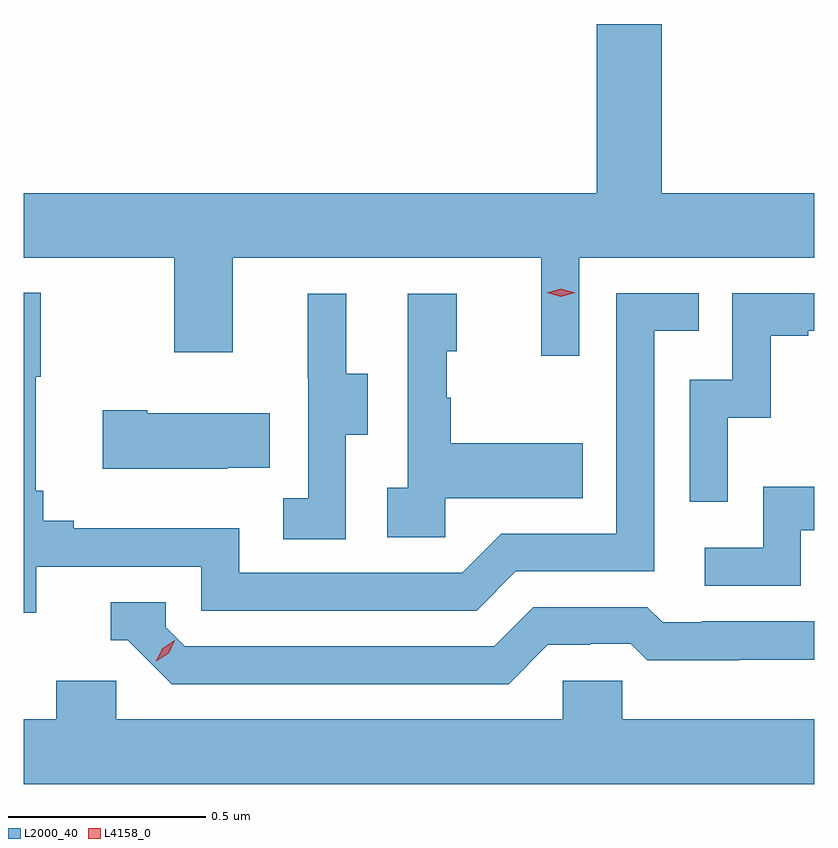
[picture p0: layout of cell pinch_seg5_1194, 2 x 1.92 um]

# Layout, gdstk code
import gdstk
lib = gdstk.Library(unit=1e-6, precision=1e-09)
def P(c, l, *ps):  # polygons
    for p in ps: c.add(gdstk.Polygon(p, *l))
L2000_40 = (2000, 40)
L4158_0 = (4158, 0)

pinch_seg5_1194 = lib.new_cell('pinch_seg5_1194')
P(pinch_seg5_1194, L2000_40, [(823.749,840.776),(824.343,840.776),(824.343,840.94),(823.957,840.94),(823.957,841.368),(823.793,841.368),(823.793,840.94),(822.343,840.94),(822.343,840.776),(822.724,840.776),(822.724,840.537),(822.871,840.537),(822.871,840.776),(823.652,840.776),(823.652,840.528),(823.749,840.528)],
  [(822.374,839.994),(822.792,839.994),(822.792,839.883),(823.489,839.883),(823.588,839.982),(823.938,839.982),(823.938,840.591),(824.051,840.591),(824.051,840.687),(823.842,840.687),(823.842,840.078),(823.551,840.078),(823.452,839.979),(822.888,839.979),(822.888,840.091),(822.469,840.091),(822.469,840.11),(822.392,840.11),(822.392,840.187),(822.373,840.187),(822.373,840.475),(822.385,840.475),(822.385,840.688),(822.343,840.688),(822.343,839.878),(822.374,839.878)],
  [(824.124,840.371),(824.234,840.371),(824.234,840.579),(824.329,840.579),(824.329,840.591),(824.343,840.591),(824.343,840.687),(824.136,840.687),(824.136,840.468),(824.028,840.468),(824.028,840.159),(824.124,840.159)],
  [(823.41,840.167),(823.757,840.167),(823.757,840.307),(823.423,840.307),(823.423,840.422),(823.413,840.422),(823.413,840.54),(823.438,840.54),(823.438,840.685),(823.314,840.685),(823.314,840.194),(823.263,840.194),(823.263,840.069),(823.41,840.069)],
  [(823.158,840.328),(823.213,840.328),(823.213,840.483),(823.159,840.483),(823.159,840.685),(823.061,840.685),(823.061,840.471),(823.062,840.471),(823.062,840.167),(822.999,840.167),(822.999,840.064),(823.158,840.064)],
  [(822.857,840.245),(822.965,840.245),(822.965,840.382),(822.655,840.382),(822.655,840.39),(822.543,840.39),(822.543,840.242),(822.857,840.242)],
  [(824.31,840.087),(824.343,840.087),(824.343,840.196),(824.214,840.196),(824.214,840.042),(824.067,840.042),(824.067,839.946),(824.31,839.946)],
  [(823.669,839.796),(823.776,839.796),(823.776,839.799),(823.879,839.799),(823.921,839.757),(824.154,839.757),(824.154,839.759),(824.343,839.759),(824.343,839.856),(824.059,839.856),(824.059,839.853),(823.96,839.853),(823.921,839.892),(823.632,839.892),(823.533,839.793),(822.75,839.793),(822.702,839.841),(822.702,839.904),(822.563,839.904),(822.563,839.808),(822.606,839.808),(822.717,839.697),(823.57,839.697)],
  [(824.343,839.608),(823.857,839.608),(823.857,839.706),(823.707,839.706),(823.707,839.608),(822.576,839.608),(822.576,839.706),(822.425,839.706),(822.425,839.608),(822.343,839.608),(822.343,839.444),(824.343,839.444)])
P(pinch_seg5_1194, L4158_0, [(823.702,840.678),(823.666,840.688),(823.666,840.688),(823.666,840.688),(823.702,840.698),(823.738,840.688),(823.738,840.688),(823.738,840.688)],
  [(822.678,839.755),(822.678,839.756),(822.694,839.788),(822.725,839.808),(822.725,839.808),(822.725,839.808),(822.709,839.775),(822.678,839.755)])

lib.write_gds('pinch_seg5_1194.gds')
